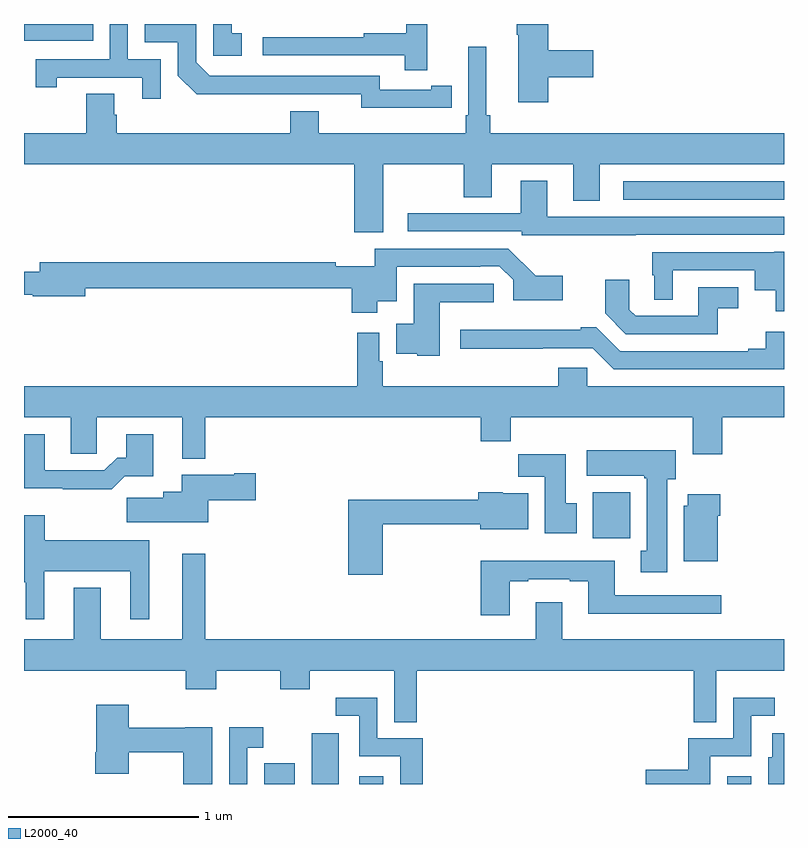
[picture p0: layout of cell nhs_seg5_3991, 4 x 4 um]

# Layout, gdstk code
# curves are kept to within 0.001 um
import gdstk
lib = gdstk.Library(unit=1e-6, precision=1e-09)
def R(c, l, rs):  # rectangles x0, y0, x1, y1
    for r in rs: c.add(gdstk.rectangle(r[:2], r[2:], *l))
def P(c, l, *ps):  # polygons
    for p in ps: c.add(gdstk.Polygon(p, *l))
L2000_40 = (2000, 40)

nhs_seg5_3991 = lib.new_cell('nhs_seg5_3991')
R(nhs_seg5_3991, L2000_40, [(346.265,886.799,346.426,886.908), (346.514,886.799,346.657,887.065), (346.764,886.799,346.891,886.84), (348.701,886.799,348.828,886.84), (347.993,888.092,348.19,888.334), (348.153,889.875,349,889.971), (345,890.712,345.365,890.799)])
P(nhs_seg5_3991, L2000_40, [(347.123,890.799),(347.013,890.799),(347.013,890.75),(346.789,890.75),(346.789,890.73),(346.257,890.73),(346.257,890.634),(347.005,890.634),(347.005,890.556),(347.123,890.556)],
  [(347.144,890.358),(347.252,890.358),(347.252,890.474),(347.144,890.474),(347.144,890.454),(346.872,890.454),(346.872,890.526),(345.978,890.526),(345.906,890.598),(345.906,890.799),(345.636,890.799),(345.636,890.703),(345.81,890.703),(345.81,890.526),(345.908,890.429),(346.776,890.43),(346.776,890.357)],
  [(345.72,890.613),(345.546,890.613),(345.546,890.799),(345.45,890.799),(345.45,890.613),(345.061,890.613),(345.061,890.466),(345.172,890.466),(345.172,890.517),(345.623,890.517),(345.623,890.406),(345.72,890.406)],
  [(346.147,890.751),(346.094,890.751),(346.094,890.799),(345.996,890.799),(345.996,890.631),(346.147,890.631)],
  [(347.759,890.518),(347.995,890.518),(347.995,890.66),(347.759,890.66),(347.759,890.799),(347.593,890.799),(347.593,890.743),(347.6,890.743),(347.6,890.388),(347.759,890.388)],
  [(346.891,890.06),(347.314,890.06),(347.314,889.888),(347.461,889.888),(347.461,890.06),(347.891,890.06),(347.891,889.87),(348.031,889.87),(348.031,890.06),(349,890.06),(349,890.224),(347.453,890.224),(347.453,890.32),(347.434,890.32),(347.434,890.68),(347.337,890.68),(347.337,890.32),(347.324,890.32),(347.324,890.224),(346.552,890.224),(346.552,890.341),(346.4,890.341),(346.4,890.224),(345.488,890.224),(345.488,890.322),(345.475,890.322),(345.475,890.432),(345.328,890.432),(345.328,890.224),(345,890.224),(345,890.06),(346.739,890.06),(346.739,889.702),(346.891,889.702)],
  [(348.221,889.689),(349,889.689),(349,889.785),(347.755,889.785),(347.755,889.975),(347.615,889.975),(347.615,889.803),(347.019,889.803),(347.019,889.707),(347.619,889.707),(347.619,889.688),(348.019,889.688),(348.019,889.687),(348.221,889.687)],
  [(346.858,889.34),(346.962,889.34),(346.962,889.521),(347.402,889.521),(347.402,889.524),(347.502,889.524),(347.574,889.452),(347.574,889.346),(347.836,889.346),(347.836,889.474),(347.694,889.474),(347.623,889.546),(347.621,889.544),(347.548,889.617),(346.846,889.617),(346.846,889.524),(346.64,889.524),(346.64,889.544),(345.083,889.544),(345.083,889.495),(345,889.495),(345,889.373),(345.046,889.373),(345.046,889.366),(345.322,889.366),(345.322,889.408),(346.724,889.408),(346.724,889.278),(346.858,889.278)],
  [(349,889.6),(348.949,889.6),(348.949,889.599),(348.306,889.599),(348.306,889.476),(348.317,889.476),(348.317,889.348),(348.415,889.348),(348.415,889.503),(348.845,889.503),(348.845,889.397),(348.956,889.397),(348.956,889.286),(349,889.286)],
  [(348.65,889.304),(348.76,889.304),(348.76,889.414),(348.548,889.414),(348.548,889.263),(348.219,889.263),(348.186,889.296),(348.186,889.453),(348.06,889.453),(348.06,889.276),(348.168,889.167),(348.65,889.167)],
  [(347.188,889.334),(347.473,889.334),(347.473,889.431),(347.051,889.431),(347.051,889.222),(346.958,889.222),(346.958,889.064),(347.07,889.064),(347.07,889.052),(347.188,889.052)],
  [(349,889.179),(348.904,889.179),(348.904,889.09),(348.812,889.09),(348.812,889.077),(348.138,889.077),(348.011,889.204),(347.93,889.204),(347.93,889.189),(347.295,889.189),(347.295,889.091),(347.994,889.092),(348.105,888.981),(349,888.981)],
  [(345.955,888.728),(347.405,888.728),(347.405,888.604),(347.561,888.604),(347.561,888.728),(348.521,888.728),(348.521,888.534),(348.674,888.534),(348.674,888.728),(349,888.728),(349,888.892),(347.964,888.892),(347.964,888.99),(347.813,888.99),(347.813,888.892),(346.888,888.892),(346.888,889.025),(346.869,889.025),(346.869,889.174),(346.753,889.174),(346.753,888.892),(345,888.892),(345,888.728),(345.245,888.728),(345.245,888.538),(345.384,888.538),(345.384,888.728),(345.833,888.728),(345.833,888.512),(345.955,888.512)],
  [(345.53,888.419),(345.679,888.419),(345.679,888.64),(345.539,888.64),(345.539,888.517),(345.49,888.517),(345.423,888.45),(345.109,888.45),(345.109,888.64),(345,888.64),(345,888.356),(345.205,888.356),(345.205,888.35),(345.461,888.35)],
  [(348.385,888.402),(348.43,888.402),(348.43,888.556),(347.961,888.556),(347.961,888.422),(348.265,888.422),(348.265,888.409),(348.278,888.409),(348.278,888.026),(348.245,888.026),(348.245,887.913),(348.385,887.913)],
  [(347.908,888.276),(347.851,888.276),(347.851,888.535),(347.602,888.535),(347.602,888.416),(347.741,888.416),(347.741,888.12),(347.908,888.12)],
  [(345.97,888.293),(346.219,888.293),(346.219,888.435),(346.106,888.435),(346.106,888.427),(345.83,888.427),(345.83,888.337),(345.734,888.337),(345.734,888.305),(345.54,888.305),(345.54,888.176),(345.97,888.176)],
  [(346.889,888.166),(347.402,888.166),(347.402,888.14),(347.653,888.14),(347.653,888.328),(347.52,888.328),(347.52,888.334),(347.39,888.334),(347.39,888.295),(346.706,888.295),(346.706,887.901),(346.889,887.901)],
  [(348.652,888.212),(348.665,888.212),(348.665,888.325),(348.494,888.325),(348.494,888.264),(348.473,888.264),(348.473,887.972),(348.652,887.972)],
  [(345.106,887.918),(345.56,887.918),(345.56,887.667),(345.658,887.667),(345.658,888.082),(345.108,888.082),(345.108,888.214),(345,888.214),(345,887.861),(345.008,887.861),(345.008,887.667),(345.106,887.667)],
  [(347.068,887.396),(348.525,887.396),(348.525,887.125),(348.643,887.125),(348.643,887.396),(349,887.396),(349,887.56),(347.833,887.56),(347.833,887.755),(347.693,887.755),(347.693,887.56),(345.955,887.56),(345.955,888.01),(345.833,888.01),(345.833,887.56),(345.403,887.56),(345.403,887.833),(345.263,887.833),(345.263,887.56),(345,887.56),(345,887.396),(345.851,887.396),(345.851,887.297),(346.011,887.297),(346.011,887.396),(346.348,887.396),(346.348,887.297),(346.503,887.297),(346.503,887.396),(346.949,887.396),(346.949,887.125),(347.068,887.125)],
  [(347.557,887.865),(347.653,887.865),(347.653,887.877),(347.873,887.877),(347.873,887.865),(347.969,887.865),(347.969,887.696),(348.67,887.696),(348.67,887.793),(348.109,887.793),(348.109,887.974),(347.405,887.974),(347.405,887.688),(347.557,887.688)],
  [(347.098,887.04),(346.86,887.04),(346.86,887.254),(346.641,887.254),(346.641,887.157),(346.764,887.157),(346.764,886.944),(346.979,886.944),(346.979,886.799),(347.098,886.799)],
  [(348.613,886.944),(348.828,886.944),(348.828,887.157),(348.952,887.157),(348.952,887.254),(348.732,887.254),(348.732,887.04),(348.495,887.04),(348.495,886.873),(348.272,886.873),(348.272,886.799),(348.613,886.799)],
  [(345.991,887.098),(345.849,887.098),(345.849,887.095),(345.552,887.095),(345.552,887.215),(345.379,887.215),(345.379,886.966),(345.374,886.966),(345.374,886.854),(345.552,886.854),(345.552,886.966),(345.838,886.966),(345.838,886.799),(345.991,886.799)],
  [(346.176,886.989),(346.258,886.989),(346.258,887.098),(346.08,887.098),(346.08,886.799),(346.176,886.799)],
  [(349,887.065),(348.938,887.065),(348.938,886.941),(348.917,886.941),(348.917,886.799),(349,886.799)])

lib.write_gds('nhs_seg5_3991.gds')
